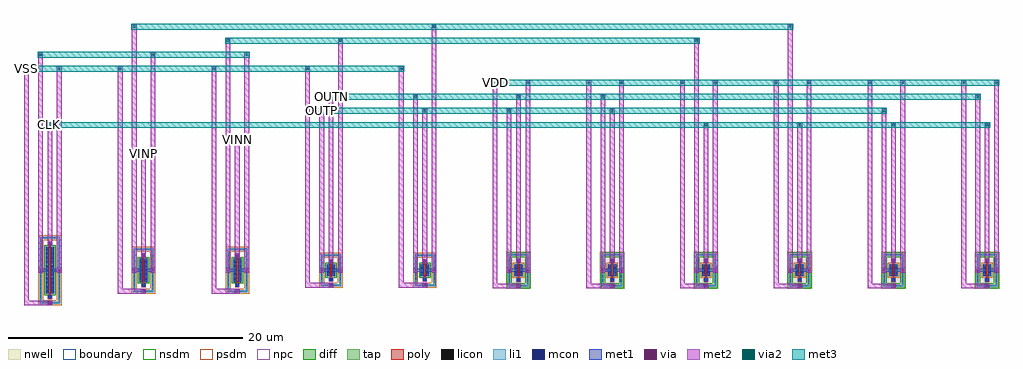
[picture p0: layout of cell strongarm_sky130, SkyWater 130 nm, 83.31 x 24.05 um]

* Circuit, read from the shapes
.subckt strongarm_sky130 CLK OUTN OUTP VDD VINN VINP VSS
XM1 VSS CLK n1 VSS sky130_fd_pr__nfet_01v8 w=4 l=0.15
XM2 n1 VINP n2 VSS sky130_fd_pr__nfet_01v8 w=2 l=0.15
XM3 n1 VINN n3 VSS sky130_fd_pr__nfet_01v8 w=2 l=0.15
XM4 n3 OUTN OUTP VSS sky130_fd_pr__nfet_01v8 w=1 l=0.15
XM5 n2 OUTP OUTN VSS sky130_fd_pr__nfet_01v8 w=1 l=0.15
XM6 VDD OUTN OUTP VDD sky130_fd_pr__pfet_01v8 w=1 l=0.15
XM7 VDD OUTP OUTN VDD sky130_fd_pr__pfet_01v8 w=1 l=0.15
XM8 VDD CLK n3 VDD sky130_fd_pr__pfet_01v8 w=1 l=0.15
XM9 VDD CLK n2 VDD sky130_fd_pr__pfet_01v8 w=1 l=0.15
XM10 VDD CLK OUTP VDD sky130_fd_pr__pfet_01v8 w=1 l=0.15
XM11 VDD CLK OUTN VDD sky130_fd_pr__pfet_01v8 w=1 l=0.15
.ends

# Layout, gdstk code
import gdstk
lib = gdstk.Library(unit=1e-6, precision=1e-10)
def R(c, l, rs):  # rectangles x0, y0, x1, y1
    for r in rs: c.add(gdstk.rectangle(r[:2], r[2:], *l))
def A(c, l, x, y, w, h, nx, ny, dx, dy):  # array of equal rectangles
    R(c, l, [(x+i*dx, y+j*dy, x+i*dx+w, y+j*dy+h) for i in range(nx) for j in range(ny)])
nwell = (64, 20)
diff = (65, 20)
tap = (65, 44)
poly = (66, 20)
licon = (66, 44)
li1 = (67, 20)
mcon = (67, 44)
met1 = (68, 20)
via = (68, 44)
met2 = (69, 20)
via2 = (69, 44)
met3 = (70, 20)
nsdm = (93, 44)
psdm = (94, 20)
npc = (95, 20)
boundary = (235, 4)

strongarm_sky130 = lib.new_cell('strongarm_sky130')
A(strongarm_sky130, nwell, 42.945, -1.595, 2.11, 3.19, 6, 1, 8, 0)
A(strongarm_sky130, diff, 27.635, -0.5, 0.73, 1, 8, 1, 8, 0)
R(strongarm_sky130, diff, [(3.635,-2,4.365,2), (11.635,-1,12.365,1), (19.635,-1,20.365,1)])
A(strongarm_sky130, tap, 43.125, -1.415, 1.75, 0.17, 6, 2, 8, 2.66)
R(strongarm_sky130, tap, [(3.125,-2.87,4.875,-2.7), (3.125,-2.7,3.295,2.7), (4.705,-2.7,4.875,2.7), (11.125,-1.87,12.875,-1.7), (19.125,-1.87,20.875,-1.7), (11.125,-1.7,11.295,1.7), (12.705,-1.7,12.875,1.7), (19.125,-1.7,19.295,1.7), (20.705,-1.7,20.875,1.7), (27.125,-1.37,28.875,-1.2), (35.125,-1.37,36.875,-1.2), (43.125,-1.245,43.295,1.245), (44.705,-1.245,44.875,1.245), (51.125,-1.245,51.295,1.245), (52.705,-1.245,52.875,1.245), (59.125,-1.245,59.295,1.245), (60.705,-1.245,60.875,1.245), (67.125,-1.245,67.295,1.245), (68.705,-1.245,68.875,1.245), (75.125,-1.245,75.295,1.245), (76.705,-1.245,76.875,1.245), (83.125,-1.245,83.295,1.245), (84.705,-1.245,84.875,1.245), (27.125,-1.2,27.295,1.2), (28.705,-1.2,28.875,1.2), (35.125,-1.2,35.295,1.2), (36.705,-1.2,36.875,1.2), (27.125,1.2,28.875,1.37), (35.125,1.2,36.875,1.37), (11.125,1.7,12.875,1.87), (19.125,1.7,20.875,1.87), (3.125,2.7,4.875,2.87)])
A(strongarm_sky130, poly, 43.835, -0.985, 0.33, 0.33, 6, 2, 8, 1.64)
A(strongarm_sky130, poly, 43.925, -0.655, 0.15, 1.31, 6, 1, 8, 0)
R(strongarm_sky130, poly, [(3.835,-2.44,4.165,-2.11), (3.925,-2.11,4.075,2.11), (11.835,-1.44,12.165,-1.11), (19.835,-1.44,20.165,-1.11), (11.925,-1.11,12.075,1.11), (19.925,-1.11,20.075,1.11), (27.835,-0.94,28.165,-0.61), (35.835,-0.94,36.165,-0.61), (27.925,-0.61,28.075,0.61), (35.925,-0.61,36.075,0.61), (27.835,0.61,28.165,0.94), (35.835,0.61,36.165,0.94), (11.835,1.11,12.165,1.44), (19.835,1.11,20.165,1.44), (3.835,2.11,4.165,2.44)])
A(strongarm_sky130, licon, 3.125, -2.295, 0.17, 0.17, 1, 14, 0, 0.34)
A(strongarm_sky130, licon, 4.705, -2.295, 0.17, 0.17, 1, 14, 0, 0.34)
A(strongarm_sky130, licon, 3.695, -1.785, 0.17, 0.17, 1, 11, 0, 0.34)
A(strongarm_sky130, licon, 4.135, -1.785, 0.17, 0.17, 1, 11, 0, 0.34)
A(strongarm_sky130, licon, 11.125, -1.275, 0.17, 0.17, 1, 8, 0, 0.34)
A(strongarm_sky130, licon, 12.705, -1.275, 0.17, 0.17, 1, 8, 0, 0.34)
A(strongarm_sky130, licon, 19.125, -1.275, 0.17, 0.17, 1, 8, 0, 0.34)
A(strongarm_sky130, licon, 20.705, -1.275, 0.17, 0.17, 1, 8, 0, 0.34)
A(strongarm_sky130, licon, 11.695, -0.935, 0.17, 0.17, 1, 6, 0, 0.34)
A(strongarm_sky130, licon, 12.135, -0.935, 0.17, 0.17, 1, 6, 0, 0.34)
A(strongarm_sky130, licon, 19.695, -0.935, 0.17, 0.17, 1, 6, 0, 0.34)
A(strongarm_sky130, licon, 20.135, -0.935, 0.17, 0.17, 1, 6, 0, 0.34)
A(strongarm_sky130, licon, 43.125, -0.935, 0.17, 0.17, 1, 6, 0, 0.34)
A(strongarm_sky130, licon, 44.705, -0.935, 0.17, 0.17, 1, 6, 0, 0.34)
A(strongarm_sky130, licon, 51.125, -0.935, 0.17, 0.17, 1, 6, 0, 0.34)
A(strongarm_sky130, licon, 52.705, -0.935, 0.17, 0.17, 1, 6, 0, 0.34)
A(strongarm_sky130, licon, 59.125, -0.935, 0.17, 0.17, 1, 6, 0, 0.34)
A(strongarm_sky130, licon, 60.705, -0.935, 0.17, 0.17, 1, 6, 0, 0.34)
A(strongarm_sky130, licon, 67.125, -0.935, 0.17, 0.17, 1, 6, 0, 0.34)
A(strongarm_sky130, licon, 68.705, -0.935, 0.17, 0.17, 1, 6, 0, 0.34)
A(strongarm_sky130, licon, 75.125, -0.935, 0.17, 0.17, 1, 6, 0, 0.34)
A(strongarm_sky130, licon, 76.705, -0.935, 0.17, 0.17, 1, 6, 0, 0.34)
A(strongarm_sky130, licon, 83.125, -0.935, 0.17, 0.17, 1, 6, 0, 0.34)
A(strongarm_sky130, licon, 84.705, -0.935, 0.17, 0.17, 1, 6, 0, 0.34)
A(strongarm_sky130, licon, 43.915, -0.905, 0.17, 0.17, 6, 2, 8, 1.64)
A(strongarm_sky130, licon, 27.125, -0.765, 0.17, 0.17, 1, 5, 0, 0.34)
A(strongarm_sky130, licon, 28.705, -0.765, 0.17, 0.17, 1, 5, 0, 0.34)
A(strongarm_sky130, licon, 35.125, -0.765, 0.17, 0.17, 1, 5, 0, 0.34)
A(strongarm_sky130, licon, 36.705, -0.765, 0.17, 0.17, 1, 5, 0, 0.34)
A(strongarm_sky130, licon, 27.695, -0.425, 0.17, 0.17, 1, 3, 0, 0.34)
A(strongarm_sky130, licon, 28.135, -0.425, 0.17, 0.17, 1, 3, 0, 0.34)
A(strongarm_sky130, licon, 35.695, -0.425, 0.17, 0.17, 1, 3, 0, 0.34)
A(strongarm_sky130, licon, 36.135, -0.425, 0.17, 0.17, 1, 3, 0, 0.34)
A(strongarm_sky130, licon, 43.695, -0.425, 0.17, 0.17, 1, 3, 0, 0.34)
A(strongarm_sky130, licon, 44.135, -0.425, 0.17, 0.17, 1, 3, 0, 0.34)
A(strongarm_sky130, licon, 51.695, -0.425, 0.17, 0.17, 1, 3, 0, 0.34)
A(strongarm_sky130, licon, 52.135, -0.425, 0.17, 0.17, 1, 3, 0, 0.34)
A(strongarm_sky130, licon, 59.695, -0.425, 0.17, 0.17, 1, 3, 0, 0.34)
A(strongarm_sky130, licon, 60.135, -0.425, 0.17, 0.17, 1, 3, 0, 0.34)
A(strongarm_sky130, licon, 67.695, -0.425, 0.17, 0.17, 1, 3, 0, 0.34)
A(strongarm_sky130, licon, 68.135, -0.425, 0.17, 0.17, 1, 3, 0, 0.34)
A(strongarm_sky130, licon, 75.695, -0.425, 0.17, 0.17, 1, 3, 0, 0.34)
A(strongarm_sky130, licon, 76.135, -0.425, 0.17, 0.17, 1, 3, 0, 0.34)
A(strongarm_sky130, licon, 83.695, -0.425, 0.17, 0.17, 1, 3, 0, 0.34)
A(strongarm_sky130, licon, 84.135, -0.425, 0.17, 0.17, 1, 3, 0, 0.34)
R(strongarm_sky130, licon, [(3.745,-2.87,3.915,-2.7), (4.085,-2.87,4.255,-2.7), (3.915,-2.36,4.085,-2.19), (11.745,-1.87,11.915,-1.7), (12.085,-1.87,12.255,-1.7), (19.745,-1.87,19.915,-1.7), (20.085,-1.87,20.255,-1.7), (43.745,-1.415,43.915,-1.245), (44.085,-1.415,44.255,-1.245), (51.745,-1.415,51.915,-1.245), (52.085,-1.415,52.255,-1.245), (59.745,-1.415,59.915,-1.245), (60.085,-1.415,60.255,-1.245), (67.745,-1.415,67.915,-1.245), (68.085,-1.415,68.255,-1.245), (75.745,-1.415,75.915,-1.245), (76.085,-1.415,76.255,-1.245), (83.745,-1.415,83.915,-1.245), (84.085,-1.415,84.255,-1.245), (27.745,-1.37,27.915,-1.2), (28.085,-1.37,28.255,-1.2), (35.745,-1.37,35.915,-1.2), (36.085,-1.37,36.255,-1.2), (11.915,-1.36,12.085,-1.19), (19.915,-1.36,20.085,-1.19), (27.915,-0.86,28.085,-0.69), (35.915,-0.86,36.085,-0.69), (27.915,0.69,28.085,0.86), (35.915,0.69,36.085,0.86), (11.915,1.19,12.085,1.36), (19.915,1.19,20.085,1.36), (27.745,1.2,27.915,1.37), (28.085,1.2,28.255,1.37), (35.745,1.2,35.915,1.37), (36.085,1.2,36.255,1.37), (43.745,1.245,43.915,1.415), (44.085,1.245,44.255,1.415), (51.745,1.245,51.915,1.415), (52.085,1.245,52.255,1.415), (59.745,1.245,59.915,1.415), (60.085,1.245,60.255,1.415), (67.745,1.245,67.915,1.415), (68.085,1.245,68.255,1.415), (75.745,1.245,75.915,1.415), (76.085,1.245,76.255,1.415), (83.745,1.245,83.915,1.415), (84.085,1.245,84.255,1.415), (11.745,1.7,11.915,1.87), (12.085,1.7,12.255,1.87), (19.745,1.7,19.915,1.87), (20.085,1.7,20.255,1.87), (3.915,2.19,4.085,2.36), (3.745,2.7,3.915,2.87), (4.085,2.7,4.255,2.87)])
A(strongarm_sky130, li1, 43.83, -1.5, 0.34, 0.085, 6, 2, 8, 0.255)
A(strongarm_sky130, li1, 43.125, -1.415, 1.75, 0.17, 6, 2, 8, 2.66)
A(strongarm_sky130, li1, 43.835, -0.905, 0.33, 0.17, 6, 2, 8, 1.64)
R(strongarm_sky130, li1, [(3.83,-2.955,4.17,-2.87), (3.125,-2.87,4.875,-2.7), (3.125,-2.7,3.295,2.7), (3.83,-2.7,4.17,-2.615), (4.705,-2.7,4.875,2.7), (3.835,-2.36,4.165,-2.19), (3.695,-2.02,3.865,2.02), (4.135,-2.02,4.305,2.02), (11.83,-1.955,12.17,-1.87), (19.83,-1.955,20.17,-1.87), (11.125,-1.87,12.875,-1.7), (19.125,-1.87,20.875,-1.7), (11.125,-1.7,11.295,1.7), (11.83,-1.7,12.17,-1.615), (12.705,-1.7,12.875,1.7), (19.125,-1.7,19.295,1.7), (19.83,-1.7,20.17,-1.615), (20.705,-1.7,20.875,1.7), (27.83,-1.455,28.17,-1.37), (35.83,-1.455,36.17,-1.37), (27.125,-1.37,28.875,-1.2), (35.125,-1.37,36.875,-1.2), (11.835,-1.36,12.165,-1.19), (19.835,-1.36,20.165,-1.19), (43.125,-1.245,43.295,1.245), (44.705,-1.245,44.875,1.245), (51.125,-1.245,51.295,1.245), (52.705,-1.245,52.875,1.245), (59.125,-1.245,59.295,1.245), (60.705,-1.245,60.875,1.245), (67.125,-1.245,67.295,1.245), (68.705,-1.245,68.875,1.245), (75.125,-1.245,75.295,1.245), (76.705,-1.245,76.875,1.245), (83.125,-1.245,83.295,1.245), (84.705,-1.245,84.875,1.245), (27.125,-1.2,27.295,1.2), (27.83,-1.2,28.17,-1.115), (28.705,-1.2,28.875,1.2), (35.125,-1.2,35.295,1.2), (35.83,-1.2,36.17,-1.115), (36.705,-1.2,36.875,1.2), (11.695,-1.02,11.865,1.02), (12.135,-1.02,12.305,1.02), (19.695,-1.02,19.865,1.02), (20.135,-1.02,20.305,1.02), (27.835,-0.86,28.165,-0.69), (35.835,-0.86,36.165,-0.69), (27.695,-0.52,27.865,0.52), (28.135,-0.52,28.305,0.52), (35.695,-0.52,35.865,0.52), (36.135,-0.52,36.305,0.52), (43.695,-0.52,43.865,0.52), (44.135,-0.52,44.305,0.52), (51.695,-0.52,51.865,0.52), (52.135,-0.52,52.305,0.52), (59.695,-0.52,59.865,0.52), (60.135,-0.52,60.305,0.52), (67.695,-0.52,67.865,0.52), (68.135,-0.52,68.305,0.52), (75.695,-0.52,75.865,0.52), (76.135,-0.52,76.305,0.52), (83.695,-0.52,83.865,0.52), (84.135,-0.52,84.305,0.52), (27.835,0.69,28.165,0.86), (35.835,0.69,36.165,0.86), (11.835,1.19,12.165,1.36), (19.835,1.19,20.165,1.36), (27.125,1.2,28.875,1.37), (35.125,1.2,36.875,1.37), (11.125,1.7,12.875,1.87), (19.125,1.7,20.875,1.87), (3.835,2.19,4.165,2.36), (3.125,2.7,4.875,2.87)])
A(strongarm_sky130, mcon, 3.695, -1.885, 0.17, 0.17, 1, 11, 0, 0.36)
A(strongarm_sky130, mcon, 4.135, -1.885, 0.17, 0.17, 1, 11, 0, 0.36)
A(strongarm_sky130, mcon, 43.915, -1.415, 0.17, 0.17, 6, 2, 8, 0.51)
A(strongarm_sky130, mcon, 11.695, -0.805, 0.17, 0.17, 1, 5, 0, 0.36)
A(strongarm_sky130, mcon, 12.135, -0.805, 0.17, 0.17, 1, 5, 0, 0.36)
A(strongarm_sky130, mcon, 19.695, -0.805, 0.17, 0.17, 1, 5, 0, 0.36)
A(strongarm_sky130, mcon, 20.135, -0.805, 0.17, 0.17, 1, 5, 0, 0.36)
A(strongarm_sky130, mcon, 43.915, 0.735, 0.17, 0.17, 6, 1, 8, 0)
R(strongarm_sky130, mcon, [(3.915,-2.87,4.085,-2.7), (3.915,-2.36,4.085,-2.19), (11.915,-1.87,12.085,-1.7), (19.915,-1.87,20.085,-1.7), (27.915,-1.37,28.085,-1.2), (35.915,-1.37,36.085,-1.2), (11.915,-1.36,12.085,-1.19), (19.915,-1.36,20.085,-1.19), (27.915,-0.86,28.085,-0.69), (35.915,-0.86,36.085,-0.69), (27.695,-0.265,27.865,-0.095), (28.135,-0.265,28.305,-0.095), (35.695,-0.265,35.865,-0.095), (36.135,-0.265,36.305,-0.095), (43.695,-0.265,43.865,-0.095), (44.135,-0.265,44.305,-0.095), (51.695,-0.265,51.865,-0.095), (52.135,-0.265,52.305,-0.095), (59.695,-0.265,59.865,-0.095), (60.135,-0.265,60.305,-0.095), (67.695,-0.265,67.865,-0.095), (68.135,-0.265,68.305,-0.095), (75.695,-0.265,75.865,-0.095), (76.135,-0.265,76.305,-0.095), (83.695,-0.265,83.865,-0.095), (84.135,-0.265,84.305,-0.095), (27.695,0.095,27.865,0.265), (28.135,0.095,28.305,0.265), (35.695,0.095,35.865,0.265), (36.135,0.095,36.305,0.265), (43.695,0.095,43.865,0.265), (44.135,0.095,44.305,0.265), (51.695,0.095,51.865,0.265), (52.135,0.095,52.305,0.265), (59.695,0.095,59.865,0.265), (60.135,0.095,60.305,0.265), (67.695,0.095,67.865,0.265), (68.135,0.095,68.305,0.265), (75.695,0.095,75.865,0.265), (76.135,0.095,76.305,0.265), (83.695,0.095,83.865,0.265), (84.135,0.095,84.305,0.265), (27.915,0.69,28.085,0.86), (35.915,0.69,36.085,0.86), (11.915,1.19,12.085,1.36), (19.915,1.19,20.085,1.36), (3.915,2.19,4.085,2.36)])
A(strongarm_sky130, met1, 43.8, -1.53, 0.4, 0.4, 6, 1, 8, 0)
A(strongarm_sky130, met1, 43.83, -0.95, 0.34, 0.26, 6, 2, 8, 1.64)
R(strongarm_sky130, met1, [(3.8,-2.985,4.2,-2.585), (3.83,-2.405,4.17,-2.145), (3.665,-2,3.895,-0.12), (4.105,-2,4.335,-0.12), (11.8,-1.985,12.2,-1.585), (19.8,-1.985,20.2,-1.585), (27.8,-1.485,28.2,-1.085), (35.8,-1.485,36.2,-1.085), (11.83,-1.405,12.17,-1.145), (19.83,-1.405,20.17,-1.145), (11.665,-1,11.895,-0.12), (12.105,-1,12.335,-0.12), (19.665,-1,19.895,-0.12), (20.105,-1,20.335,-0.12), (27.83,-0.905,28.17,-0.645), (35.83,-0.905,36.17,-0.645), (27.665,-0.5,27.895,-0.12), (28.105,-0.5,28.335,-0.12), (35.665,-0.5,35.895,-0.12), (36.105,-0.5,36.335,-0.12), (43.665,-0.5,43.895,-0.12), (44.105,-0.5,44.335,-0.12), (51.665,-0.5,51.895,-0.12), (52.105,-0.5,52.335,-0.12), (59.665,-0.5,59.895,-0.12), (60.105,-0.5,60.335,-0.12), (67.665,-0.5,67.895,-0.12), (68.105,-0.5,68.335,-0.12), (75.665,-0.5,75.895,-0.12), (76.105,-0.5,76.335,-0.12), (83.665,-0.5,83.895,-0.12), (84.105,-0.5,84.335,-0.12), (3,-0.2,3.4,-0.12), (4.6,-0.2,5,-0.12), (11,-0.2,11.4,-0.12), (12.6,-0.2,13,-0.12), (19,-0.2,19.4,-0.12), (20.6,-0.2,21,-0.12), (27,-0.2,27.4,-0.12), (28.6,-0.2,29,-0.12), (35,-0.2,35.4,-0.12), (36.6,-0.2,37,-0.12), (43,-0.2,43.4,-0.12), (44.6,-0.2,45,-0.12), (51,-0.2,51.4,-0.12), (52.6,-0.2,53,-0.12), (59,-0.2,59.4,-0.12), (60.6,-0.2,61,-0.12), (67,-0.2,67.4,-0.12), (68.6,-0.2,69,-0.12), (75,-0.2,75.4,-0.12), (76.6,-0.2,77,-0.12), (83,-0.2,83.4,-0.12), (84.6,-0.2,85,-0.12), (3,-0.12,3.9,0.12), (4.1,-0.12,5,0.12), (11,-0.12,11.9,0.12), (12.1,-0.12,13,0.12), (19,-0.12,19.9,0.12), (20.1,-0.12,21,0.12), (27,-0.12,27.9,0.12), (28.1,-0.12,29,0.12), (35,-0.12,35.9,0.12), (36.1,-0.12,37,0.12), (43,-0.12,43.9,0.12), (44.1,-0.12,45,0.12), (51,-0.12,51.9,0.12), (52.1,-0.12,53,0.12), (59,-0.12,59.9,0.12), (60.1,-0.12,61,0.12), (67,-0.12,67.9,0.12), (68.1,-0.12,69,0.12), (75,-0.12,75.9,0.12), (76.1,-0.12,77,0.12), (83,-0.12,83.9,0.12), (84.1,-0.12,85,0.12), (3,0.12,3.4,0.2), (3.665,0.12,3.895,2), (4.105,0.12,4.335,2), (4.6,0.12,5,0.2), (11,0.12,11.4,0.2), (11.665,0.12,11.895,1), (12.105,0.12,12.335,1), (12.6,0.12,13,0.2), (19,0.12,19.4,0.2), (19.665,0.12,19.895,1), (20.105,0.12,20.335,1), (20.6,0.12,21,0.2), (27,0.12,27.4,0.2), (27.665,0.12,27.895,0.5), (28.105,0.12,28.335,0.5), (28.6,0.12,29,0.2), (35,0.12,35.4,0.2), (35.665,0.12,35.895,0.5), (36.105,0.12,36.335,0.5), (36.6,0.12,37,0.2), (43,0.12,43.4,0.2), (43.665,0.12,43.895,0.5), (44.105,0.12,44.335,0.5), (44.6,0.12,45,0.2), (51,0.12,51.4,0.2), (51.665,0.12,51.895,0.5), (52.105,0.12,52.335,0.5), (52.6,0.12,53,0.2), (59,0.12,59.4,0.2), (59.665,0.12,59.895,0.5), (60.105,0.12,60.335,0.5), (60.6,0.12,61,0.2), (67,0.12,67.4,0.2), (67.665,0.12,67.895,0.5), (68.105,0.12,68.335,0.5), (68.6,0.12,69,0.2), (75,0.12,75.4,0.2), (75.665,0.12,75.895,0.5), (76.105,0.12,76.335,0.5), (76.6,0.12,77,0.2), (83,0.12,83.4,0.2), (83.665,0.12,83.895,0.5), (84.105,0.12,84.335,0.5), (84.6,0.12,85,0.2), (27.83,0.645,28.17,0.905), (35.83,0.645,36.17,0.905), (11.83,1.145,12.17,1.405), (19.83,1.145,20.17,1.405), (3.83,2.145,4.17,2.405)])
A(strongarm_sky130, via, 43.925, -1.405, 0.15, 0.15, 6, 2, 8, 2.15)
R(strongarm_sky130, via, [(3.925,-2.86,4.075,-2.71), (11.925,-1.86,12.075,-1.71), (19.925,-1.86,20.075,-1.71), (27.925,-1.36,28.075,-1.21), (35.925,-1.36,36.075,-1.21), (3.125,-0.075,3.275,0.075), (4.725,-0.075,4.875,0.075), (11.125,-0.075,11.275,0.075), (12.725,-0.075,12.875,0.075), (19.125,-0.075,19.275,0.075), (20.725,-0.075,20.875,0.075), (27.125,-0.075,27.275,0.075), (28.725,-0.075,28.875,0.075), (35.125,-0.075,35.275,0.075), (36.725,-0.075,36.875,0.075), (43.125,-0.075,43.275,0.075), (44.725,-0.075,44.875,0.075), (51.125,-0.075,51.275,0.075), (52.725,-0.075,52.875,0.075), (59.125,-0.075,59.275,0.075), (60.725,-0.075,60.875,0.075), (67.125,-0.075,67.275,0.075), (68.725,-0.075,68.875,0.075), (75.125,-0.075,75.275,0.075), (76.725,-0.075,76.875,0.075), (83.125,-0.075,83.275,0.075), (84.725,-0.075,84.875,0.075), (27.925,0.7,28.075,0.85), (35.925,0.7,36.075,0.85), (11.925,1.2,12.075,1.35), (19.925,1.2,20.075,1.35), (3.925,2.2,4.075,2.35)])
A(strongarm_sky130, met2, 41.8, -1.53, 2.4, 0.4, 6, 1, 8, 0)
A(strongarm_sky130, met2, 41.8, -1.13, 0.4, 17.33, 6, 1, 8, 0)
A(strongarm_sky130, met2, 44.6, -0.2, 0.4, 16.4, 6, 1, 8, 0)
A(strongarm_sky130, met2, 59.8, 0.62, 0.4, 11.98, 4, 1, 8, 0)
R(strongarm_sky130, met2, [(1.8,-2.985,4.2,-2.585), (1.8,-2.585,2.2,17.4), (9.8,-1.985,12.2,-1.585), (17.8,-1.985,20.2,-1.585), (9.8,-1.585,10.2,17.4), (17.8,-1.585,18.2,17.4), (25.8,-1.485,28.2,-1.085), (33.8,-1.485,36.2,-1.085), (25.8,-1.085,26.2,17.4), (33.8,-1.085,34.2,17.4), (3,-0.2,3.4,18.6), (4.6,-0.2,5,17.4), (11,-0.2,11.4,21), (12.6,-0.2,13,18.6), (19,-0.2,19.4,19.8), (20.6,-0.2,21,18.6), (27,-0.2,27.4,13.8), (28.6,-0.2,29,19.8), (35,-0.2,35.4,15), (36.6,-0.2,37,21), (43,-0.2,43.4,13.8), (51,-0.2,51.4,15), (59,-0.2,59.4,19.8), (67,-0.2,67.4,21), (75,-0.2,75.4,13.8), (83,-0.2,83.4,15), (27.8,0.575,28.2,15), (35.8,0.575,36.2,13.8), (43.8,0.62,44.2,15), (51.8,0.62,52.2,13.8), (11.8,1.075,12.2,10.2), (19.8,1.075,20.2,11.4), (3.8,2.075,4.2,12.6)])
A(strongarm_sky130, via2, 59.9, 12.3, 0.2, 0.2, 4, 1, 8, 0)
A(strongarm_sky130, via2, 9.9, 17.1, 0.2, 0.2, 4, 1, 8, 0)
R(strongarm_sky130, via2, [(11.9,9.9,12.1,10.1), (19.9,11.1,20.1,11.3), (3.9,12.3,4.1,12.5), (27.1,13.5,27.3,13.7), (35.9,13.5,36.1,13.7), (43.1,13.5,43.3,13.7), (51.9,13.5,52.1,13.7), (75.1,13.5,75.3,13.7), (27.9,14.7,28.1,14.9), (35.1,14.7,35.3,14.9), (43.9,14.7,44.1,14.9), (51.1,14.7,51.3,14.9), (83.1,14.7,83.3,14.9), (41.9,15.9,42.1,16.1), (44.7,15.9,44.9,16.1), (49.9,15.9,50.1,16.1), (52.7,15.9,52.9,16.1), (57.9,15.9,58.1,16.1), (60.7,15.9,60.9,16.1), (65.9,15.9,66.1,16.1), (68.7,15.9,68.9,16.1), (73.9,15.9,74.1,16.1), (76.7,15.9,76.9,16.1), (81.9,15.9,82.1,16.1), (84.7,15.9,84.9,16.1), (1.9,17.1,2.1,17.3), (4.7,17.1,4.9,17.3), (3.1,18.3,3.3,18.5), (12.7,18.3,12.9,18.5), (20.7,18.3,20.9,18.5), (19.1,19.5,19.3,19.7), (28.7,19.5,28.9,19.7), (59.1,19.5,59.3,19.7), (11.1,20.7,11.3,20.9), (36.7,20.7,36.9,20.9), (67.1,20.7,67.3,20.9)])
R(strongarm_sky130, met3, [(11.5,9.75,12.5,10.25), (11.8,9.8,12.2,10.2), (19.5,10.95,20.5,11.45), (19.8,11,20.2,11.4), (3.75,12.15,84.25,12.65), (3.8,12.2,4.2,12.6), (26.95,13.35,75.45,13.85), (27,13.4,27.4,13.8), (27.75,14.55,83.45,15.05), (27.8,14.6,28.2,15), (41.75,15.75,85.05,16.25), (41.8,15.8,42.2,16.2), (1.75,16.95,34.25,17.45), (1.8,17,2.2,17.4), (2.95,18.15,21.05,18.65), (18.95,19.35,59.45,19.85), (10.95,20.55,67.45,21.05)])
A(strongarm_sky130, nsdm, 43, -1.54, 2, 0.42, 6, 2, 8, 2.66)
R(strongarm_sky130, nsdm, [(3.51,-2.125,4.49,2.125), (11.51,-1.125,12.49,1.125), (19.51,-1.125,20.49,1.125), (43,-1.12,43.42,1.12), (44.58,-1.12,45,1.12), (51,-1.12,51.42,1.12), (52.58,-1.12,53,1.12), (59,-1.12,59.42,1.12), (60.58,-1.12,61,1.12), (67,-1.12,67.42,1.12), (68.58,-1.12,69,1.12), (75,-1.12,75.42,1.12), (76.58,-1.12,77,1.12), (83,-1.12,83.42,1.12), (84.58,-1.12,85,1.12), (27.51,-0.625,28.49,0.625), (35.51,-0.625,36.49,0.625)])
A(strongarm_sky130, psdm, 43.51, -0.625, 0.98, 1.25, 6, 1, 8, 0)
R(strongarm_sky130, psdm, [(3,-2.995,5,-2.575), (3,-2.575,3.42,2.575), (4.58,-2.575,5,2.575), (11,-1.995,13,-1.575), (19,-1.995,21,-1.575), (11,-1.575,11.42,1.575), (12.58,-1.575,13,1.575), (19,-1.575,19.42,1.575), (20.58,-1.575,21,1.575), (27,-1.495,29,-1.075), (35,-1.495,37,-1.075), (27,-1.075,27.42,1.075), (28.58,-1.075,29,1.075), (35,-1.075,35.42,1.075), (36.58,-1.075,37,1.075), (27,1.075,29,1.495), (35,1.075,37,1.495), (11,1.575,13,1.995), (19,1.575,21,1.995), (3,2.575,5,2.995)])
A(strongarm_sky130, npc, 43.815, -1.005, 0.37, 0.37, 6, 2, 8, 1.64)
R(strongarm_sky130, npc, [(3.815,-2.46,4.185,-2.09), (11.815,-1.46,12.185,-1.09), (19.815,-1.46,20.185,-1.09), (27.815,-0.96,28.185,-0.59), (35.815,-0.96,36.185,-0.59), (27.815,0.59,28.185,0.96), (35.815,0.59,36.185,0.96), (11.815,1.09,12.185,1.46), (19.815,1.09,20.185,1.46), (3.815,2.09,4.185,2.46)])
A(strongarm_sky130, boundary, 43.21, -1.33, 1.58, 2.66, 6, 1, 8, 0)
R(strongarm_sky130, boundary, [(3.21,-2.785,4.79,2.785), (11.21,-1.785,12.79,1.785), (19.21,-1.785,20.79,1.785), (27.21,-1.285,28.79,1.285), (35.21,-1.285,36.79,1.285)])
strongarm_sky130.add(gdstk.Label('VINP', (12,10), layer=70, texttype=5))
strongarm_sky130.add(gdstk.Label('VINN', (20,11.2), layer=70, texttype=5))
strongarm_sky130.add(gdstk.Label('CLK', (4,12.4), layer=70, texttype=5))
strongarm_sky130.add(gdstk.Label('OUTP', (27.2,13.6), layer=70, texttype=5))
strongarm_sky130.add(gdstk.Label('OUTN', (28,14.8), layer=70, texttype=5))
strongarm_sky130.add(gdstk.Label('VDD', (42,16), layer=70, texttype=5))
strongarm_sky130.add(gdstk.Label('VSS', (2,17.2), layer=70, texttype=5))

lib.write_gds('strongarm_sky130.gds')
